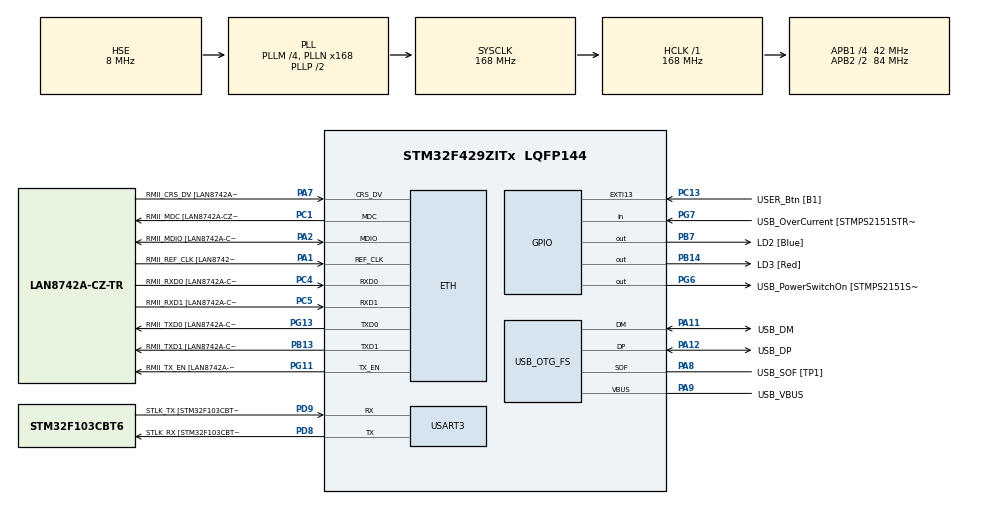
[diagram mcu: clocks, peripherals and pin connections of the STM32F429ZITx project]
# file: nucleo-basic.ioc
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ETH.MACAddr=00\:8E\:E1\:0F\:A0\:0E
ETH.MediaInterface=ETH_MEDIA_INTERFACE_RMII
ETH.PHY_Name=LAN8742A_PHY_ADDRESS
ETH.PHY_Value=0
ETH.PhyAddress=0
FATFS._MAX_LFN=32
FATFS._STRF_ENCODE=0
FATFS._USE_LFN=2
FREERTOS.Tasks01=defaultTask,0,1024,StartDefaultTask,Default,NULL,Dynamic,NULL,NULL
FREERTOS.configTOTAL_HEAP_SIZE=32768
LWIP.Version=v2.0.3_Cube
Mcu.Family=STM32F4
Mcu.Name=STM32F429ZITx
Mcu.Package=LQFP144
NVIC.ETH_IRQn=true\:5\:0\:false\:false\:true\:true\:false
NVIC.OTG_FS_IRQn=true\:5\:0\:false\:false\:true\:true\:false
NVIC.PriorityGroup=NVIC_PRIORITYGROUP_4
NVIC.TIM6_DAC_IRQn=true\:0\:0\:false\:false\:true\:false\:false
NVIC.TimeBase=TIM6_DAC_IRQn
NVIC.TimeBaseIP=TIM6
PA1.GPIO_Label=RMII_REF_CLK [LAN8742A-CZ-TR_REFCLK0]
PA1.Mode=RMII
PA1.Signal=ETH_REF_CLK
PA10.GPIO_Label=USB_ID
PA10.Signal=USB_OTG_FS_ID
PA11.GPIO_Label=USB_DM
PA11.Mode=Host_Only
PA11.Signal=USB_OTG_FS_DM
PA12.GPIO_Label=USB_DP
PA12.Mode=Host_Only
PA12.Signal=USB_OTG_FS_DP
PA13.GPIO_Label=TMS
PA13.Mode=Serial_Wire
PA13.Signal=SYS_JTMS-SWDIO
PA14.GPIO_Label=TCK
PA14.Mode=Serial_Wire
PA14.Signal=SYS_JTCK-SWCLK
PA2.GPIO_Label=RMII_MDIO [LAN8742A-CZ-TR_MDIO]
PA2.Mode=RMII
PA2.Signal=ETH_MDIO
PA7.GPIO_Label=RMII_CRS_DV [LAN8742A-CZ-TR_CRS_DV]
PA7.Mode=RMII
PA7.Signal=ETH_CRS_DV
PA8.GPIO_Label=USB_SOF [TP1]
PA8.Mode=Activate_SOF_FS
PA8.Signal=USB_OTG_FS_SOF
PA9.GPIO_Label=USB_VBUS
PA9.Mode=Activate_VBUS
PA9.Signal=USB_OTG_FS_VBUS
PB13.GPIO_Label=RMII_TXD1 [LAN8742A-CZ-TR_TXD1]
PB13.Mode=RMII
PB13.Signal=ETH_TXD1
PB14.GPIO_Label=LD3 [Red]
PB14.Signal=GPIO_Output
PB7.GPIO_Label=LD2 [Blue]
PB7.Signal=GPIO_Output
PC1.GPIO_Label=RMII_MDC [LAN8742A-CZ-TR_MDC]
PC1.Mode=RMII
PC1.Signal=ETH_MDC
PC13.GPIO_Label=USER_Btn [B1]
PC13.Signal=GPXTI13
PC14/OSC32_IN.Mode=LSE-External-Oscillator
PC14/OSC32_IN.Signal=RCC_OSC32_IN
PC15/OSC32_OUT.Mode=LSE-External-Oscillator
PC15/OSC32_OUT.Signal=RCC_OSC32_OUT
PC4.GPIO_Label=RMII_RXD0 [LAN8742A-CZ-TR_RXD0]
PC4.Mode=RMII
PC4.Signal=ETH_RXD0
PC5.GPIO_Label=RMII_RXD1 [LAN8742A-CZ-TR_RXD1]
PC5.Mode=RMII
PC5.Signal=ETH_RXD1
PD8.GPIO_Label=STLK_RX [STM32F103CBT6_PA3]
PD8.Mode=Asynchronous
PD8.Signal=USART3_TX
PD9.GPIO_Label=STLK_TX [STM32F103CBT6_PA2]
PD9.Mode=Asynchronous
PD9.Signal=USART3_RX
PG11.GPIO_Label=RMII_TX_EN [LAN8742A-CZ-TR_TXEN]
PG11.Mode=RMII
PG11.Signal=ETH_TX_EN
PG13.GPIO_Label=RMII_TXD0 [LAN8742A-CZ-TR_TXD0]
PG13.Mode=RMII
PG13.Signal=ETH_TXD0
PG6.GPIO_Label=USB_PowerSwitchOn [STMPS2151STR_EN]
PG6.Signal=GPIO_Output
PG7.GPIO_Label=USB_OverCurrent [STMPS2151STR_FAULT]
PG7.Signal=GPIO_Input
PH0/OSC_IN.GPIO_Label=MCO [STM32F103CBT6_PA8]
PH0/OSC_IN.Mode=HSE-External-Clock-Source
PH0/OSC_IN.Signal=RCC_OSC_IN
PH1/OSC_OUT.Mode=HSE-External-Clock-Source
PH1/OSC_OUT.Signal=RCC_OSC_OUT
ProjectManager.HeapSize=0x200
ProjectManager.StackSize=0x400
ProjectManager.TargetToolchain=TrueSTUDIO
RCC.48MHZClocksFreq_Value=48000000
RCC.AHBFreq_Value=168000000
RCC.APB1CLKDivider=RCC_HCLK_DIV4
RCC.APB1Freq_Value=42000000
RCC.APB1TimFreq_Value=84000000
RCC.APB2CLKDivider=RCC_HCLK_DIV2
RCC.APB2Freq_Value=84000000
RCC.APB2TimCLKDivider=2
RCC.APB2TimFreq_Value=168000000
RCC.CortexFreq_Value=168000000
RCC.HCLKFreq_Value=168000000
RCC.HSE_VALUE=8000000
RCC.HSI_VALUE=16000000
RCC.PLLM=4
RCC.PLLMUL=RCC_PLL_MUL9
RCC.PLLN=168
RCC.PLLQ=7
RCC.PRESCALERUSB=RCC_USBCLKSOURCE_PLL_DIV1_5
RCC.SYSCLKFreq_VALUE=168000000
RCC.SYSCLKSource=RCC_SYSCLKSOURCE_PLLCLK
RCC.SYSCLKSourceVirtual=RCC_SYSCLKSOURCE_PLLCLK
RCC.USBFreq_Value=48000000
RCC.VCOOutputFreq_Value=336000000
USART3.VirtualMode=VM_ASYNC
USB_HOST.BSP.number=1
USB_HOST.USBH_DEBUG_LEVEL-MSC_FS=3
USB_HOST.USBH_HandleTypeDef-MSC_FS=hUsbHostFS
USB_HOST.VirtualModeFS=Msc
USB_HOST0.BSP.STBoard=false
USB_HOST0.BSP.api=Unknown
USB_HOST0.BSP.i2caddr=0
USB_HOST0.BSP.instance=PG6
USB_HOST0.BSP.ip=GPIO
USB_HOST0.BSP.mode=Output
USB_HOST0.BSP.name=Drive_VBUS_FS
USB_HOST0.BSP.solution=PG6
USB_OTG_FS.VirtualMode=Host_Only
USB_OTG_FS.phy_itface=HCD_PHY_EMBEDDED
VP_FATFS_VS_USB.Mode=USB
VP_FREERTOS_VS_ENABLE.Mode=Enabled
VP_LWIP_VS_Enabled.Mode=Enabled
VP_SYS_VS_tim6.Mode=TIM6
VP_USB_HOST_VS_USB_HOST_MSC_FS.Mode=MSC_FS
board=NUCLEO-F429ZI

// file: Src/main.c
/**
  ******************************************************************************
  * @file           : main.c
  * @brief          : Main program body
  ******************************************************************************
  * This notice applies to any and all portions of this file
  * that are not between comment pairs USER CODE BEGIN and
  * USER CODE END. Other portions of this file, whether
  * inserted by the user or by software development tools
  * are owned by their respective copyright owners.
  *
  * Copyright (c) 2019 STMicroelectronics International N.V.
  * All rights reserved.
  *
  * Redistribution and use in source and binary forms, with or without
  * modification, are permitted, provided that the following conditions are met:
  *
  * 1. Redistribution of source code must retain the above copyright notice,
  *    this list of conditions and the following disclaimer.
  * 2. Redistributions in binary form must reproduce the above copyright notice,
  *    this list of conditions and the following disclaimer in the documentation
  *    and/or other materials provided with the distribution.
  * 3. Neither the name of STMicroelectronics nor the names of other
  *    contributors to this software may be used to endorse or promote products
  *    derived from this software without specific written permission.
  * 4. This software, including modifications and/or derivative works of this
  *    software, must execute solely and exclusively on microcontroller or
  *    microprocessor devices manufactured by or for STMicroelectronics.
  * 5. Redistribution and use of this software other than as permitted under
  *    this license is void and will automatically terminate your rights under
  *    this license.
  *
  * THIS SOFTWARE IS PROVIDED BY STMICROELECTRONICS AND CONTRIBUTORS "AS IS"
  * AND ANY EXPRESS, IMPLIED OR STATUTORY WARRANTIES, INCLUDING, BUT NOT
  * LIMITED TO, THE IMPLIED WARRANTIES OF MERCHANTABILITY, FITNESS FOR A
  * PARTICULAR PURPOSE AND NON-INFRINGEMENT OF THIRD PARTY INTELLECTUAL PROPERTY
  * RIGHTS ARE DISCLAIMED TO THE FULLEST EXTENT PERMITTED BY LAW. IN NO EVENT
  * SHALL STMICROELECTRONICS OR CONTRIBUTORS BE LIABLE FOR ANY DIRECT, INDIRECT,
  * INCIDENTAL, SPECIAL, EXEMPLARY, OR CONSEQUENTIAL DAMAGES (INCLUDING, BUT NOT
  * LIMITED TO, PROCUREMENT OF SUBSTITUTE GOODS OR SERVICES; LOSS OF USE, DATA,
  * OR PROFITS; OR BUSINESS INTERRUPTION) HOWEVER CAUSED AND ON ANY THEORY OF
  * LIABILITY, WHETHER IN CONTRACT, STRICT LIABILITY, OR TORT (INCLUDING
  * NEGLIGENCE OR OTHERWISE) ARISING IN ANY WAY OUT OF THE USE OF THIS SOFTWARE,
  * EVEN IF ADVISED OF THE POSSIBILITY OF SUCH DAMAGE.
  *
  ******************************************************************************
  */
#include "main.h"
#include "stm32f4xx_hal.h"
#include "cmsis_os.h"
#include "fatfs.h"
#include "lwip.h"
#include "usb_host.h"

/* USER CODE BEGIN Includes */
#include "dbgu.h"
#include "term_io.h"
#include "ansi.h"
#include "usbh_platform.h"
#include "lwip/api.h"
#define BROKER_IP1 192
#define BROKER_IP2 168
#define BROKER_IP3 1
#define BROKER_IP4 243

/* USER CODE END Includes */

UART_HandleTypeDef huart3;

osThreadId defaultTaskHandle;

/* USER CODE BEGIN PV */
/* Private variables ---------------------------------------------------------*/
/* USER CODE END PV */

void SystemClock_Config(void);
static void MX_GPIO_Init(void);
static void MX_USART3_UART_Init(void);
void StartDefaultTask(void const * argument);
static int inpub_id;
void turn_led_on(int);
void turn_led_off(int);
void toggle_led(int, int);
void handle_diode(char*);
void example_do_connect(mqtt_client_t *client);
static void mqtt_sub_request_cb(void *arg, err_t result);
static void mqtt_connection_cb(mqtt_client_t *client, void *arg, mqtt_connection_status_t status);

/* USER CODE BEGIN PFP */
/* Private function prototypes -----------------------------------------------*/
/* USER CODE END PFP */

/* USER CODE BEGIN 0 */
extern ApplicationTypeDef Appli_state;
extern struct netif gnetif;
/* USER CODE END 0 */

int main(void)
{

  /* MCU Configuration----------------------------------------------------------*/

  /* Reset of all peripherals, Initializes the Flash interface and the Systick. */
  HAL_Init();

  /* Configure the system clock */
  SystemClock_Config();

  /* Initialize all configured peripherals */
  MX_GPIO_Init();
  MX_USART3_UART_Init();
  /* USER CODE BEGIN 2 */
  debug_init(&huart3);
  xprintf(ANSI_BG_BLUE "MQTT project" ANSI_BG_DEFAULT "\n");
  /* USER CODE END 2 */

  /* Create the thread(s) */
  /* definition and creation of defaultTask */
  osThreadDef(defaultTask, StartDefaultTask, osPriorityNormal, 0, 1024);
  defaultTaskHandle = osThreadCreate(osThread(defaultTask), NULL);

  /* Start scheduler */
  osKernelStart();

  /* We should never get here as control is now taken by the scheduler */

  /* Infinite loop */
  while (1)
  {

  }

}

void SystemClock_Config(void)
{

  RCC_OscInitTypeDef RCC_OscInitStruct;
  RCC_ClkInitTypeDef RCC_ClkInitStruct;

    /**Configure the main internal regulator output voltage
    */
  __HAL_RCC_PWR_CLK_ENABLE();

  __HAL_PWR_VOLTAGESCALING_CONFIG(PWR_REGULATOR_VOLTAGE_SCALE1);

    /**Initializes the CPU, AHB and APB busses clocks
    */
  RCC_OscInitStruct.OscillatorType = RCC_OSCILLATORTYPE_HSE;
  RCC_OscInitStruct.HSEState = RCC_HSE_BYPASS;
  RCC_OscInitStruct.PLL.PLLState = RCC_PLL_ON;
  RCC_OscInitStruct.PLL.PLLSource = RCC_PLLSOURCE_HSE;
  RCC_OscInitStruct.PLL.PLLM = 4;
  RCC_OscInitStruct.PLL.PLLN = 168;
  RCC_OscInitStruct.PLL.PLLP = RCC_PLLP_DIV2;
  RCC_OscInitStruct.PLL.PLLQ = 7;
  if (HAL_RCC_OscConfig(&RCC_OscInitStruct) != HAL_OK)
  {
    _Error_Handler(__FILE__, __LINE__);
  }

    /**Initializes the CPU, AHB and APB busses clocks
    */
  RCC_ClkInitStruct.ClockType = RCC_CLOCKTYPE_HCLK|RCC_CLOCKTYPE_SYSCLK
                              |RCC_CLOCKTYPE_PCLK1|RCC_CLOCKTYPE_PCLK2;
  RCC_ClkInitStruct.SYSCLKSource = RCC_SYSCLKSOURCE_PLLCLK;
  RCC_ClkInitStruct.AHBCLKDivider = RCC_SYSCLK_DIV1;
  RCC_ClkInitStruct.APB1CLKDivider = RCC_HCLK_DIV4;
  RCC_ClkInitStruct.APB2CLKDivider = RCC_HCLK_DIV2;

  if (HAL_RCC_ClockConfig(&RCC_ClkInitStruct, FLASH_LATENCY_5) != HAL_OK)
  {
    _Error_Handler(__FILE__, __LINE__);
  }

    /**Configure the Systick interrupt time
    */
  HAL_SYSTICK_Config(HAL_RCC_GetHCLKFreq()/1000);

    /**Configure the Systick
    */
  HAL_SYSTICK_CLKSourceConfig(SYSTICK_CLKSOURCE_HCLK);

  /* SysTick_IRQn interrupt configuration */
  HAL_NVIC_SetPriority(SysTick_IRQn, 15, 0);
}

/* USART3 init function */
static void MX_USART3_UART_Init(void)
{

  huart3.Instance = USART3;
  huart3.Init.BaudRate = 115200;
  huart3.Init.WordLength = UART_WORDLENGTH_8B;
  huart3.Init.StopBits = UART_STOPBITS_1;
  huart3.Init.Parity = UART_PARITY_NONE;
  huart3.Init.Mode = UART_MODE_TX_RX;
  huart3.Init.HwFlowCtl = UART_HWCONTROL_NONE;
  huart3.Init.OverSampling = UART_OVERSAMPLING_16;
  if (HAL_UART_Init(&huart3) != HAL_OK)
  {
    _Error_Handler(__FILE__, __LINE__);
  }

}

/** Configure pins as
        * Analog
        * Input
        * Output
        * EVENT_OUT
        * EXTI
*/
static void MX_GPIO_Init(void)
{

  GPIO_InitTypeDef GPIO_InitStruct;

  /* GPIO Ports Clock Enable */
  __HAL_RCC_GPIOC_CLK_ENABLE();
  __HAL_RCC_GPIOH_CLK_ENABLE();
  __HAL_RCC_GPIOA_CLK_ENABLE();
  __HAL_RCC_GPIOB_CLK_ENABLE();
  __HAL_RCC_GPIOD_CLK_ENABLE();
  __HAL_RCC_GPIOG_CLK_ENABLE();

  /*Configure GPIO pin Output Level */
  HAL_GPIO_WritePin(GPIOB, LD3_Pin|LD2_Pin, GPIO_PIN_RESET);

  /*Configure GPIO pin Output Level */
  HAL_GPIO_WritePin(USB_PowerSwitchOn_GPIO_Port, USB_PowerSwitchOn_Pin, GPIO_PIN_RESET);

  /*Configure GPIO pin : USER_Btn_Pin */
  GPIO_InitStruct.Pin = USER_Btn_Pin;
  GPIO_InitStruct.Mode = GPIO_MODE_IT_RISING;
  GPIO_InitStruct.Pull = GPIO_NOPULL;
  HAL_GPIO_Init(USER_Btn_GPIO_Port, &GPIO_InitStruct);

  /*Configure GPIO pins : LD3_Pin LD2_Pin */
  GPIO_InitStruct.Pin = LD3_Pin|LD2_Pin;
  GPIO_InitStruct.Mode = GPIO_MODE_OUTPUT_PP;
  GPIO_InitStruct.Pull = GPIO_NOPULL;
  GPIO_InitStruct.Speed = GPIO_SPEED_FREQ_LOW;
  HAL_GPIO_Init(GPIOB, &GPIO_InitStruct);

  /*Configure GPIO pin : USB_PowerSwitchOn_Pin */
  GPIO_InitStruct.Pin = USB_PowerSwitchOn_Pin;
  GPIO_InitStruct.Mode = GPIO_MODE_OUTPUT_PP;
  GPIO_InitStruct.Pull = GPIO_NOPULL;
  GPIO_InitStruct.Speed = GPIO_SPEED_FREQ_LOW;
  HAL_GPIO_Init(USB_PowerSwitchOn_GPIO_Port, &GPIO_InitStruct);

  /*Configure GPIO pin : USB_OverCurrent_Pin */
  GPIO_InitStruct.Pin = USB_OverCurrent_Pin;
  GPIO_InitStruct.Mode = GPIO_MODE_INPUT;
  GPIO_InitStruct.Pull = GPIO_NOPULL;
  HAL_GPIO_Init(USB_OverCurrent_GPIO_Port, &GPIO_InitStruct);

}

/* USER CODE BEGIN 4 */

void displayOwnIp(void)
{

	xprintf(
		"My IP: %d.%d.%d.%d\n",
		ip4_addr1_16(netif_ip4_addr(&gnetif)),
		ip4_addr2_16(netif_ip4_addr(&gnetif)),
		ip4_addr3_16(netif_ip4_addr(&gnetif)),
		ip4_addr4_16(netif_ip4_addr(&gnetif))
		);
}

/* USER CODE END 4 */
/* Called when publish is complete either with success or failure */
static void mqtt_pub_request_cb(void *arg, err_t result)
{
  if(result != ERR_OK) {
    printf("Publish result: %d\n", result);
  }
}

void example_publish(mqtt_client_t *client, void *arg)
{
  const char *pub_payload= "PubSubHubLubJub";
  err_t err;
  u8_t qos = 2; /* 0 1 or 2, see MQTT specification */
  u8_t retain = 0; /* No don't retain such crappy payload... */
  err = mqtt_publish(client, "pub_topic", pub_payload, strlen(pub_payload), qos, retain, mqtt_pub_request_cb, arg);
  if(err != ERR_OK) {
    printf("Publish err: %d\n", err);
  }
}

static void mqtt_incoming_data_cb(void *arg, const u8_t *data, u16_t len, u8_t flags)
{
  printf("Incoming publish payload with length %d, flags %u\n", len, (unsigned int)flags);

  if(flags & MQTT_DATA_FLAG_LAST) {
    /* Last fragment of payload received (or whole part if payload fits receive buffer
       See MQTT_VAR_HEADER_BUFFER_LEN)  */

    /* Call function or do action depending on reference, in this case inpub_id */
    if(inpub_id == 0) {
      /* Don't trust the publisher, check zero termination */
      if(data[len-1] == 0) {
        printf("mqtt_incoming_data_cb: %s\n", (const char *)data);
      }
    } else if(inpub_id == 1) {
    	char * new_data = (char*)malloc(len+1 * sizeof(char));
    	strncpy(new_data, (const char*)data, len);
    	new_data[len] = '\0';
    	printf("Diode: %s\n", new_data);
    	handle_diode(new_data);
    } else {
      printf("mqtt_incoming_data_cb: Ignoring payload...\n");
    }
  } else {
    /* Handle fragmented payload, store in buffer, write to file or whatever */
  }
}

static void mqtt_incoming_publish_cb(void *arg, const char *topic, u32_t tot_len)
{
  printf("Incoming publish at topic %s with total length %u\n", topic, (unsigned int)tot_len);
  /* Decode topic string into a user defined reference */
  if(strcmp(topic, "print_payload") == 0) {
    inpub_id = 0;
  } else if (strcmp(topic, "diode") == 0) {
    /* Turn on/off diode */
	 inpub_id = 1;
  } else {
	  inpub_id = 2;
  }
}

static void mqtt_sub_request_cb(void *arg, err_t result)
{
  /* Just print the result code here for simplicity,
     normal behaviour would be to take some action if subscribe fails like
     notifying user, retry subscribe or disconnect from server */
  printf("Subscribe result: %d\n", result);
}

void example_do_connect(mqtt_client_t *client)
{

  struct mqtt_connect_client_info_t ci;
  err_t err;

  /* Setup an empty client info structure */
  memset(&ci, 0, sizeof(ci));

  /* Minimal amount of information required is client identifier, so set it here */
   ci.client_id = "lwip_test";
   ip_addr_t ip;
   IP4_ADDR(&ip, BROKER_IP1, BROKER_IP2, BROKER_IP3, BROKER_IP4);

  /* Initiate client and connect to server, if this fails immediately an error code is returned
     otherwise mqtt_connection_cb will be called with connection result after attempting
     to establish a connection with the server.
     For now MQTT version 3.1.1 is always used */

  err = mqtt_client_connect(client, &ip, MQTT_PORT, mqtt_connection_cb, 0, &ci);

  /* For now just print the result code if something goes wrong */
  if(err != ERR_OK) {
    printf("mqtt_connect return %d\n", err);
  }
}

static void mqtt_connection_cb(mqtt_client_t *client, void *arg, mqtt_connection_status_t status)
{
  err_t err;
  if(status == MQTT_CONNECT_ACCEPTED) {
    printf("mqtt_connection_cb: Successfully connected\n");

    /* Setup callback for incoming publish requests */
    mqtt_set_inpub_callback(client, mqtt_incoming_publish_cb, mqtt_incoming_data_cb, arg);

    /* Subscribe to a topic named "subtopic" with QoS level 1, call mqtt_sub_request_cb with result */
    err = mqtt_subscribe(client, "diode", 1, mqtt_sub_request_cb, arg);

    if(err != ERR_OK) {
      printf("mqtt_subscribe return: %d\n", err);
    }
  } else {
    printf("mqtt_connection_cb: Disconnected, reason: %d\n", status);

    /* Its more nice to be connected, so try to reconnect */
    example_do_connect(client);
  }
}

void handle_dhcp() {
	  xprintf("Obtaining address with DHCP...\n");

	  struct dhcp *dhcp = netif_dhcp_data(&gnetif);
	  do
	  {
	    xprintf("dhcp->state = %02X\n",dhcp->state);
	    vTaskDelay(250);
	  }while(dhcp->state != 0x0A);

	  //xprintf("DHCP bound\n");
	  displayOwnIp();
}

void turn_led_on(int i){
	if (i == 2)
		HAL_GPIO_WritePin(GPIOB, LD2_Pin, GPIO_PIN_SET);
	else if (i == 3)
		HAL_GPIO_WritePin(GPIOB, LD3_Pin, GPIO_PIN_SET);
}

void turn_led_off(int i){
	if (i == 2)
		HAL_GPIO_WritePin(GPIOB, LD2_Pin, GPIO_PIN_RESET);
	else if (i == 3)
		HAL_GPIO_WritePin(GPIOB, LD3_Pin, GPIO_PIN_RESET);
}

void toggle_led(int i, int time){
	for (int j=0; j<time; j++) {
		turn_led_on(i);
		osDelay(250);
		turn_led_off(i);
		osDelay(250);
	}
}

void toggle_all(int time){
	int i=2;
	for (int j=0; j<time; j++) {
			turn_led_on(i);
			osDelay(250);
			turn_led_off(i);
			osDelay(250);
			if (i == 2)
				i = 3;
			else
				i = 2;
		}
}

void handle_diode(char * data){
	if (strcmp(data, "LD2 on") == 0){
		turn_led_on(2);
	} else if (strcmp(data, "LD2 off") == 0){
		turn_led_off(2);
	} else if (strcmp(data, "LD2 toggle") == 0){
		toggle_led(2, 50);
	} else if (strcmp(data, "LD3 on") == 0){
		turn_led_on(3);
	} else if (strcmp(data, "LD3 off") == 0){
		turn_led_off(3);
	} else if (strcmp(data, "LD3 toggle") == 0){
		toggle_led(3, 50);
	} else if (strcmp(data, "toggle all") == 0){
		toggle_all(50);
	}
}

/* StartDefaultTask function */
void StartDefaultTask(void const * argument)
{
  /* init code for LWIP */
  MX_LWIP_Init();
  handle_dhcp();

  mqtt_client_t *client = mqtt_client_new();
    if(client != NULL) {
      example_do_connect(client);
    }
    osDelay(5000);

    //turn_led_on(2);
    //turn_led_on(3);

   while(1){

   }

   //mqtt_disconnect(client);
}

void HAL_TIM_PeriodElapsedCallback(TIM_HandleTypeDef *htim)
{
  if (htim->Instance == TIM6) {
    HAL_IncTick();
  }
}

void _Error_Handler(char *file, int line)
{
  while(1)
  {
  }
}

/************************ (C) COPYRIGHT STMicroelectronics *****END OF FILE****/
